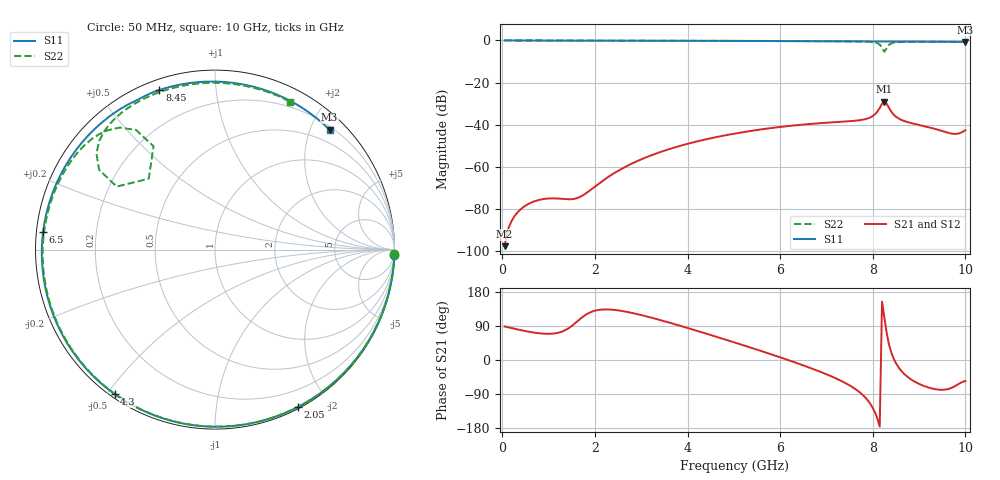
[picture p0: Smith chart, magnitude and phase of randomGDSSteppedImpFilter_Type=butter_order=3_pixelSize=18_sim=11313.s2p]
! freq	dB(S11)	phase(S11)	dB(S12)	phase(S12)
!  dB(S21)	phase(S21)	dB(S22)	phase(S22)
!S-par simulation data
#  GHz  S  DB  R 50
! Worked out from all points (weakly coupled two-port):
!   200 points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, 50 MHz to 10 GHz, reference 50 ohm
!   highest |S21| = -29.02 dB at 8.25 GHz (marker M1); lowest = -97.7 dB at 50 MHz (marker M2)
!   lowest |S11| = -0.7 dB at 10 GHz (marker M3), VSWR 25.10, Z = 12.8 + j116 ohm
!   |S11| at or under -10 dB: nowhere
!   |S22| runs from -5.3 to 0.0 dB; largest |S21 - S12| = 0
!   S11 on the Smith chart (normalised r, x): 50 MHz: 0, -73; 2.05 GHz: 0.02, -1.66; 4.3 GHz: 0.01, -0.52; 6.5 GHz: 0.02, +0.05; 8.45 GHz: 0.05, +0.71; 10 GHz: 0.26, +2.32
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0.05  -0.00 -1.6  -97.72 88.6  -97.72 88.6  -0.00 -1.4
0.4  -0.02 -12.5  -80.14 78.8  -80.14 78.8  -0.01 -11.0
0.85  -0.03 -26.3  -75.47 69.9  -75.47 69.9  -0.03 -23.2
1.5  -0.06 -46.0  -75.40 89.8  -75.40 89.8  -0.05 -40.7
1.75  -0.07 -53.5  -73.43 114.9  -73.43 114.9  -0.06 -47.4
2.05  -0.08 -62.3  -68.57 131.4  -68.57 131.4  -0.07 -55.3
2.65  -0.10 -79.5  -60.11 128.0  -60.11 128.0  -0.09 -70.8
3.4  -0.13 -100.4  -53.10 105.7  -53.10 105.7  -0.12 -90.0
4.3  -0.17 -124.8  -47.46 73.5  -47.46 73.5  -0.16 -112.6
5.05  -0.22 -145.0  -44.12 45.0  -44.12 45.0  -0.20 -131.6
6.5  -0.33 174.2  -39.94 -14.2  -39.94 -14.2  -0.32 -170.8
6.7  -0.35 168.2  -39.56 -23.2  -39.56 -23.2  -0.34 -176.6
7.6  -0.44 139.4  -38.17 -74.6  -38.17 -74.6  -0.48 153.7
7.9  -0.47 129.0  -36.99 -107.8  -36.99 -107.8  -0.63 141.0
8.1  -0.51 121.9  -33.78 -154.8  -33.78 -154.8  -1.28 128.0
8.2  -0.54 118.4  -30.13 154.0  -30.13 154.0  -3.48 120.8
8.25  -0.55 116.7  -29.02 113.0  -29.02 113.0  -5.34 133.1
8.35  -0.52 113.0  -32.03 41.0  -32.03 41.0  -2.11 145.4
8.45  -0.52 109.2  -35.19 4.0  -35.19 4.0  -1.06 136.8
9.15  -0.59 81.6  -40.89 -70.5  -40.89 -70.5  -0.63 101.4
9.75  -0.66 56.8  -44.38 -70.7  -44.38 -70.7  -0.66 74.5
10  -0.69 46.3  -42.65 -55.4  -42.65 -55.4  -0.68 63.1
